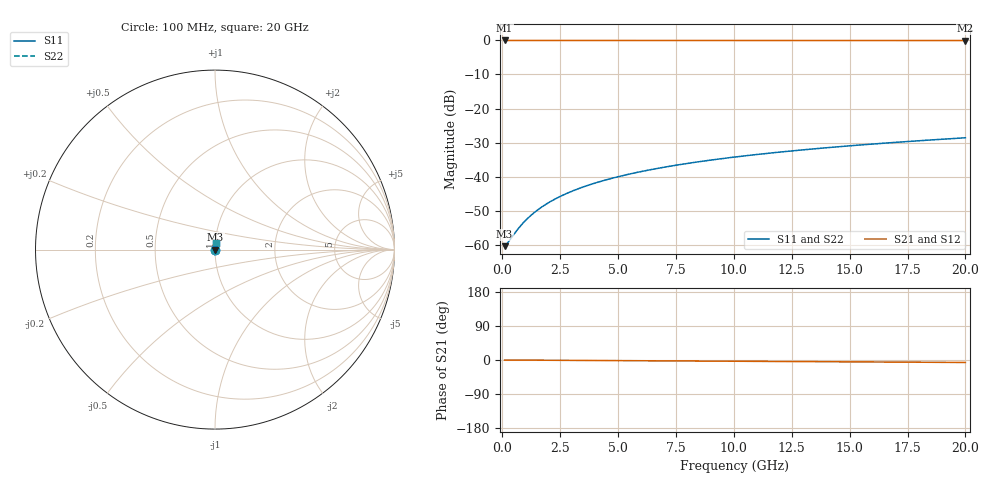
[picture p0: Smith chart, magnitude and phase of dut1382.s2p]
! Touchstone file exported from HFSS 2026.1.0
!  File:  C:/ffzhzh/LocalFiles/Ansys_Project_Files/temp_train_TSV_1382_1783196497_22436.aedt
!  Generated:  04:23:14 AM Jul  5, 2026
!  Design:  TSV
!  Project:  temp_train_TSV_1382_1783196497_22436
! Variables:
!  h_bsmrdl = 2um
!  h_ox = 20um
!  h_rdl = 5um
!  h_sub = 64.38um
!  h_tmrdl = 5um
!  h_tsv = 64.38um
!  h_via = 3um
!  l_bsmrdl = 300um
!  l_sub = 405.72um
!  l_tmrdl = 200um
!  m_sub = 200um
!  pitch = 19.01um
!  r_tsv = 2.86um
!  s_tmrdl = 10um
!  w_bsmrdl = 18um
!  w_sub = 500um
!  w_tmrdl = 12um
!  x_tsv_center1 = 206um
!  x_tsv_center2 = 524um
!  x_tsv_center3 = 736um
!  x_tsv_center4 = 1054um
!  x_tsv_center5 = 1266um
!  x_tsv_center6 = 1584um
# GHz S MA R 50.000000
! Terminal data exported
! Port[1] = TSV1_1_T1
! Port[2] = TSV1_1_T2
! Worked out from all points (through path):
!   200 points, 100 MHz to 20 GHz, reference 50 ohm
!   highest |S21| = -0.01 dB at 100 MHz (marker M1); lowest = 0.0 dB at 20 GHz (marker M2)
!   lowest |S11| = -60.4 dB at 100 MHz (marker M3), VSWR 1.00, Z = 50.1 + j0.0216 ohm
!   |S11| at or under -10 dB: start of sweep to end of sweep
!   |S22| runs from -60.4 to -28.6 dB; largest |S21 - S12| = 5.1e-15
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0.1  0.0009551 13.1  0.9991 -0.0  0.9991 -0.0  0.0009551 13.1
! Gamma 0 0 0 0
! Port Impedance 50 0 50 0
0.2  0.001032 24.5  0.9991 -0.1  0.9991 -0.1  0.001032 24.5
0.6  0.001583 51.5  0.999 -0.2  0.999 -0.2  0.001583 51.5
0.7  0.001748 55.3  0.999 -0.2  0.999 -0.2  0.001748 55.3
0.9  0.002093 61.1  0.999 -0.3  0.999 -0.3  0.002093 61.1
1.2  0.002638 66.9  0.999 -0.4  0.999 -0.4  0.002638 66.9
1.5  0.003201 70.6  0.999 -0.5  0.999 -0.5  0.003201 70.6
1.9  0.003966 73.9  0.9989 -0.6  0.9989 -0.6  0.003966 73.9
2.4  0.004935 76.4  0.9989 -0.8  0.9989 -0.8  0.004935 76.4
2.9  0.00591 78.0  0.9988 -1.0  0.9988 -1.0  0.00591 78.0
3.5  0.00708 79.1  0.9988 -1.2  0.9988 -1.2  0.00708 79.1
4.2  0.00844 80.0  0.9987 -1.4  0.9987 -1.4  0.00844 80.0
5  0.009986 80.5  0.9986 -1.7  0.9986 -1.7  0.009986 80.5
5.9  0.01171 80.8  0.9985 -2.0  0.9985 -2.0  0.01171 80.8
6.8  0.01342 81.0  0.9983 -2.2  0.9983 -2.2  0.01342 81.0
8.3  0.01622 80.9  0.9981 -2.7  0.9981 -2.7  0.01622 80.9
10.1  0.01954 80.8  0.9978 -3.3  0.9978 -3.3  0.01954 80.8
11.7  0.02245 80.5  0.9975 -3.8  0.9975 -3.8  0.02245 80.5
13.4  0.02552 80.2  0.9973 -4.4  0.9973 -4.4  0.02552 80.2
15  0.02838 79.9  0.997 -4.9  0.997 -4.9  0.02838 79.9
16.7  0.03141 79.6  0.9968 -5.4  0.9968 -5.4  0.03141 79.6
20  0.03724 78.9  0.9963 -6.5  0.9963 -6.5  0.03724 78.9
